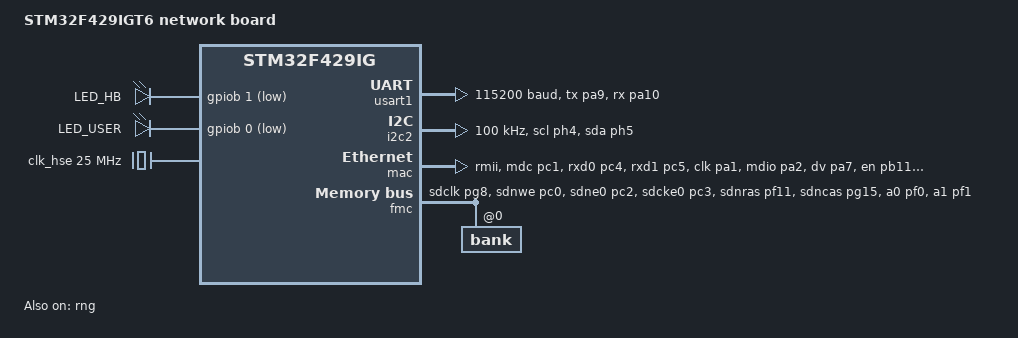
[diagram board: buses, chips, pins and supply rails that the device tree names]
/*
 * Copyright (c) 2026
 * SPDX-License-Identifier: Apache-2.0
 *
 * Board: STM32F429IGT6 (LQFP176, 1024 KB flash, 192 KB SRAM + 64 KB CCM)
 *        custom board -- see 101.stm32f429_net for the bare-metal reference.
 *
 * Differences from the ST nucleo_f429zi reference board:
 *   - HSE is a 25 MHz crystal (not the 8 MHz ST-Link MCO / hse-bypass)
 *   - SYSCLK 168 MHz (PLL M=25 N=336 P=2 Q=7); no over-drive needed.
 *     Zephyr's F4 clock driver has no over-drive support, so the bare-metal
 *     project's 180 MHz setting is intentionally NOT used here.
 *   - Flash is 1 MB (F429IG), not 2 MB (F429ZI)
 *   - LED0 (heartbeat) = PB1, LED1 (web controlled) = PB0, both active-low
 *   - ETH RMII on the real board: PC1/PC4/PC5, PA1/PA2/PA7, PB11, PG13, PG14
 *   - I2C2 on PH4 (SCL) / PH5 (SDA) -> PCF8574T (0x20): P0 = BEEP, P7 = ETH_RST
 */

/dts-v1/;

#include <st/f4/stm32f429Xi.dtsi>
#include <st/f4/stm32f429iitx-pinctrl.dtsi>
#include <zephyr/dt-bindings/gpio/gpio.h>
#include <zephyr/dt-bindings/memory-attr/memory-attr-arm.h>

/ {
	model = "STM32F429IGT6 network board";
	compatible = "st,stm32f429ig-net";

	chosen {
		zephyr,console = &usart1;
		zephyr,shell-uart = &usart1;
		zephyr,sram = &sram0;
		zephyr,flash = &flash0;
		zephyr,ccm = &ccm0;
		zephyr,code-partition = &slot0_partition;
	};

	leds: leds {
		compatible = "gpio-leds";

		/* Heartbeat LED, PB1, low level lights it up */
		led_hb: led_hb {
			gpios = <&gpiob 1 GPIO_ACTIVE_LOW>;
			label = "LED_HB";
		};

		/* Web controlled LED, PB0, low level lights it up */
		led_user: led_user {
			gpios = <&gpiob 0 GPIO_ACTIVE_LOW>;
			label = "LED_USER";
		};
	};

	aliases {
		led0 = &led_hb;
		led1 = &led_user;
	};

	/*
	 * External SDRAM window (FMC bank 1). Declared as a Zephyr memory region
	 * so the ARM MPU maps it as Normal, non-cacheable -- otherwise
	 * 0xC0000000 falls into the default "external device" attribute and
	 * unaligned / speculative accesses would fault.
	 */
	sdram1: sdram@c0000000 {
		compatible = "zephyr,memory-region", "mmio-sram";
		device_type = "memory";
		reg = <0xc0000000 DT_SIZE_M(32)>;
		zephyr,memory-region = "SDRAM1";
		zephyr,memory-attr = <DT_MEM_ARM_MPU_RAM_NOCACHE>;
	};
};

/* F429IGT6 = 1 MB flash (the SoC dtsi describes the 2 MB F429xI part) */
&flash0 {
	reg = <0x08000000 DT_SIZE_K(1024)>;

	partitions {
		compatible = "fixed-partitions";
		#address-cells = <1>;
		#size-cells = <1>;

		/* The whole 1 MB is the application slot: no bootloader is used. */
		slot0_partition: partition@0 {
			label = "image-0";
			reg = <0x00000000 DT_SIZE_K(1024)>;
		};
	};
};

/* 25 MHz crystal on the board (no hse-bypass) */
&clk_hse {
	clock-frequency = <DT_FREQ_M(25)>;
	status = "okay";
};

/* M=25 -> 1 MHz, N=336 -> 336 MHz VCO, P=2 -> 168 MHz, Q=7 -> 48 MHz */
&pll {
	div-m = <25>;
	mul-n = <336>;
	div-p = <2>;
	div-q = <7>;
	clocks = <&clk_hse>;
	status = "okay";
};

&rcc {
	clocks = <&pll>;
	clock-frequency = <DT_FREQ_M(168)>;
	ahb-prescaler = <1>;
	apb1-prescaler = <4>;
	apb2-prescaler = <2>;
};

/* Debug / console serial: USART1 PA9 TX, PA10 RX, 115200 8N1 */
&usart1 {
	pinctrl-0 = <&usart1_tx_pa9 &usart1_rx_pa10>;
	pinctrl-names = "default";
	current-speed = <115200>;
	status = "okay";
};

/*
 * I2C2 on PH4/PH5 -> PCF8574T I/O expander at 0x20.
 * P0 drives the buzzer (LOW = sound), P7 drives ETH_RESET through a
 * transistor (P7=1 -> reset asserted, P7=0 -> normal operation).
 * The bit-banged access lives in app/board_io.c so that the reset line is
 * released BEFORE the Ethernet driver initialises.
 */
&i2c2 {
	pinctrl-0 = <&i2c2_scl_ph4 &i2c2_sda_ph5>;
	pinctrl-names = "default";
	clock-frequency = <I2C_BITRATE_STANDARD>;
	status = "okay";

	pcf8574: pcf8574@20 {
		compatible = "nxp,pcf857x";
		reg = <0x20>;
		ngpios = <8>;
		gpio-controller;
		#gpio-cells = <2>;
		status = "disabled";
	};
};

/* Ethernet MAC, RMII, LAN8720A (PHY address 0) */
&mac {
	status = "okay";
	pinctrl-0 = <&eth_mdc_pc1
		     &eth_rxd0_pc4
		     &eth_rxd1_pc5
		     &eth_ref_clk_pa1
		     &eth_mdio_pa2
		     &eth_crs_dv_pa7
		     &eth_tx_en_pb11
		     &eth_txd0_pg13
		     &eth_txd1_pg14>;
	pinctrl-names = "default";
	phy-connection-type = "rmii";
	local-mac-address = [00 80 E1 42 10 03];
};

/*
 * FMC SDRAM bank 1 -- W9825G6KH-6, 32 MB at 0xC0000000.
 * Pin map identical to 101.stm32f429_net/bsp/bsp_sdram.c:
 *   data   PD0/1/8/9/10/14/15, PE7..15
 *   addr   PF0..5, PF12..15, PG0..2      BA0/BA1 = PG4/PG5 (FMC A14/A15)
 *   ctrl   PC0 SDNWE, PC2 SDNE0, PC3 SDCKE0, PG8 SDCLK,
 *          PF11 SDNRAS, PG15 SDNCAS
 *   mask   PE0/PE1 NBL0/NBL1
 *
 * FMC kernel clock = HCLK (168 MHz), SDCLK = HCLK / 2 = 84 MHz.
 *   mode register 0x230 = burst len 1, sequential, CAS 3, single write burst
 *   refresh rate  636   = 64 ms / 8192 rows / 11.9 ns - 20
 * Timing values are the 101 (90 MHz) numbers; they are still met at 84 MHz
 * because a slower SDCLK makes every delay longer in nanoseconds.
 */
&fmc {
	status = "okay";
	pinctrl-0 = <&fmc_sdclk_pg8
		     &fmc_sdnwe_pc0 &fmc_sdne0_pc2 &fmc_sdcke0_pc3
		     &fmc_sdnras_pf11 &fmc_sdncas_pg15
		     &fmc_a0_pf0 &fmc_a1_pf1 &fmc_a2_pf2 &fmc_a3_pf3
		     &fmc_a4_pf4 &fmc_a5_pf5
		     &fmc_a6_pf12 &fmc_a7_pf13 &fmc_a8_pf14 &fmc_a9_pf15
		     &fmc_a10_pg0 &fmc_a11_pg1 &fmc_a12_pg2
		     &fmc_a14_pg4 &fmc_a15_pg5
		     &fmc_d0_pd14 &fmc_d1_pd15 &fmc_d2_pd0 &fmc_d3_pd1
		     &fmc_d4_pe7 &fmc_d5_pe8 &fmc_d6_pe9 &fmc_d7_pe10
		     &fmc_d8_pe11 &fmc_d9_pe12 &fmc_d10_pe13 &fmc_d11_pe14
		     &fmc_d12_pe15
		     &fmc_d13_pd8 &fmc_d14_pd9 &fmc_d15_pd10
		     &fmc_nbl0_pe0 &fmc_nbl1_pe1>;
	pinctrl-names = "default";

	sdram: sdram {
		status = "okay";
		power-up-delay = <100>;
		num-auto-refresh = <8>;
		mode-register = <0x230>;
		refresh-rate = <636>;

		bank@0 {
			reg = <0>;
			st,sdram-control = <STM32_FMC_SDRAM_NC_9
					    STM32_FMC_SDRAM_NR_13
					    STM32_FMC_SDRAM_MWID_16
					    STM32_FMC_SDRAM_NB_4
					    STM32_FMC_SDRAM_CAS_3
					    STM32_FMC_SDRAM_SDCLK_PERIOD_2
					    STM32_FMC_SDRAM_RBURST_ENABLE
					    STM32_FMC_SDRAM_RPIPE_1>;
			st,sdram-timing = <2 8 6 6 2 2 2>;
		};
	};
};

/* Unused reference-board peripherals */
&i2c1 {
	status = "disabled";
};

&spi1 {
	status = "disabled";
};

&usart3 {
	status = "disabled";
};

&usart6 {
	status = "disabled";
};

&usbotg_fs {
	status = "disabled";
};

&timers1 {
	status = "disabled";
};

&rtc {
	status = "disabled";
};

&iwdg {
	status = "disabled";
};

/* Hardware RNG: the IP stack needs a random source (TCP ISN, port selection) */
&rng {
	status = "okay";
};

&adc1 {
	status = "disabled";
};

&dac1 {
	status = "disabled";
};

&vref {
	status = "disabled";
};

&vbat {
	status = "disabled";
};

&die_temp {
	status = "disabled";
};
